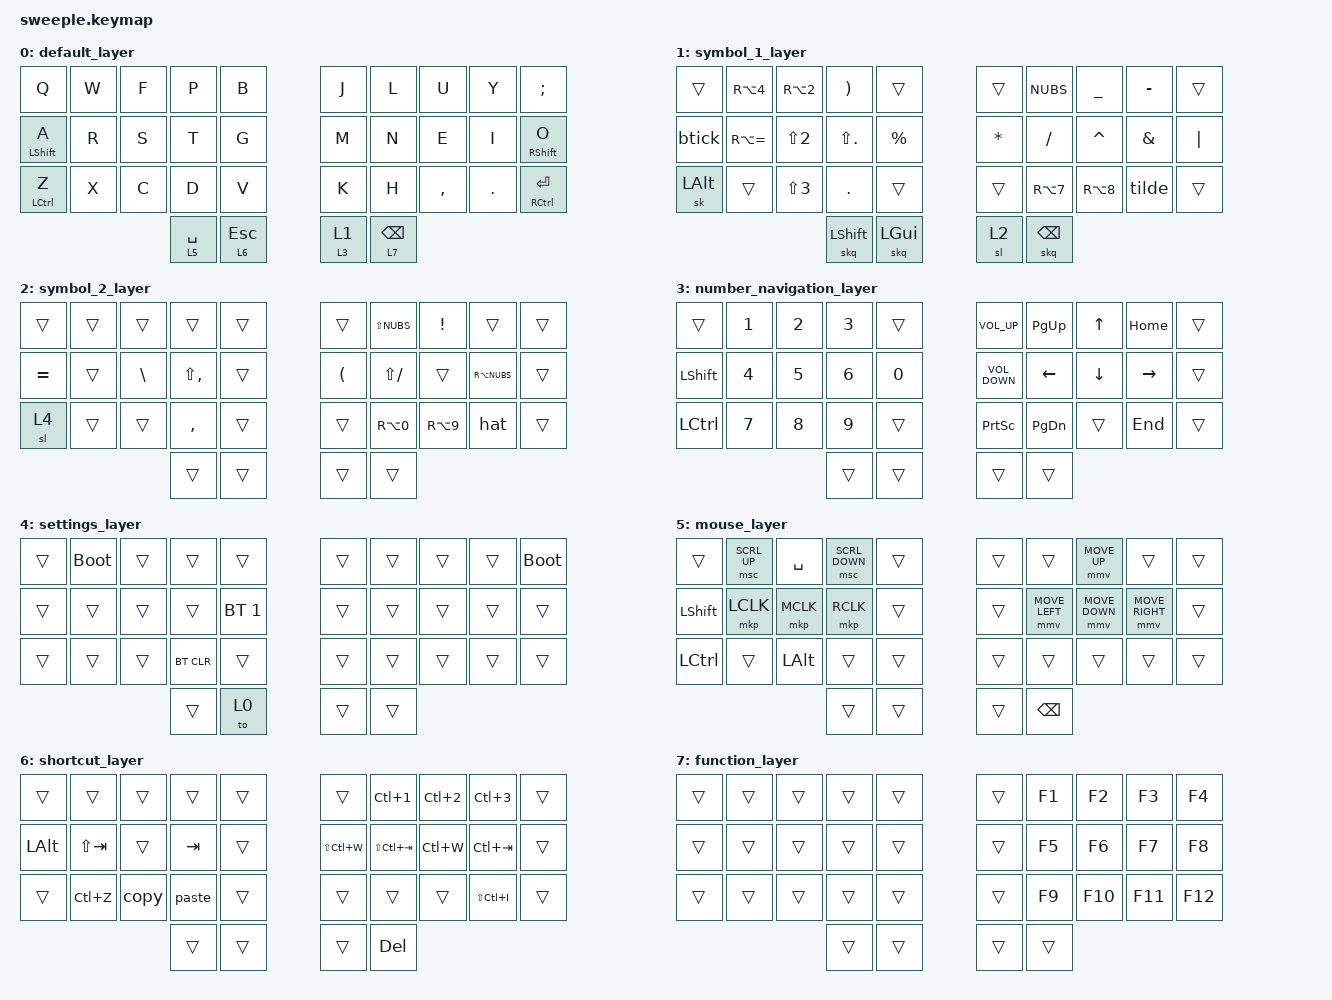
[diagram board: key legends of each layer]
#include <behaviors/mouse_keys.dtsi>
#include <behaviors.dtsi>
#include <dt-bindings/zmk/bt.h>
#include <dt-bindings/zmk/keys.h>
#include <dt-bindings/zmk/mouse.h>

&mt { tapping-term-ms = <400>; };

/ {
    input_configs {
        compatible = "zmk,input-configs";

        mmv {
            device = <&mmv>;
            scale-multiplier = <10>;
        };
    };

    behaviors {
        htl: hold_tap_leader {
            label = "leader_hold_tap";
            compatible = "zmk,behavior-hold-tap";
            #binding-cells = <2>;
            flavor = "tap-preferred";
            tapping-term-ms = <200>;
            bindings = <&mo>, <&sl>;
        };

        skq: sticky_key_quick_release {
            compatible = "zmk,behavior-sticky-key";
            label = "STICKY_KEY_QUICK_RELEASE";
            #binding-cells = <1>;
            bindings = <&kp>;
            release-after-ms = <1000>;
            quick-release;
            ignore-modifiers;
        };

        EAE_behavior: EAE_behavior {
            compatible = "zmk,behavior-tap-dance";
            label = "EAE_BEHAVIOR";
            #binding-cells = <0>;
            tapping-term-ms = <500>;
            bindings = <&kp E>, <&kp SEMICOLON>;
        };

        OOE_behavior: OOE_behavior {
            compatible = "zmk,behavior-tap-dance";
            label = "OOE_BEHAVIOR";
            #binding-cells = <0>;
            bindings = <&kp O>, <&kp SQT>;

            tapping-term-ms = <500>;
        };

        SAA_behavior: SAA_behavior {
            compatible = "zmk,behavior-tap-dance";
            label = "SAA_BEHAVIOR";
            #binding-cells = <0>;
            bindings = <&kp S>, <&kp LEFT_BRACKET>;
        };
    };

    macros {
        tilde: tilde {
            label = "macro_tilde";
            compatible = "zmk,behavior-macro";
            #binding-cells = <0>;
            bindings = <&kp RA(RBKT) &kp RA(RBKT)>;
        };

        btick: btick {
            label = "macro_btick";
            compatible = "zmk,behavior-macro";
            #binding-cells = <0>;
            bindings = <&kp PLUS &kp PLUS>;
        };

        hat: hat {
            label = "macro_hat";
            compatible = "zmk,behavior-macro";
            #binding-cells = <0>;
            bindings = <&kp RBRC &kp RBRC>;
        };

        copy: copy {
            label = "macro_copy";
            compatible = "zmk,behavior-macro";
            #binding-cells = <0>;
            bindings = <&kp LC(C)>;
        };

        paste: paste {
            label = "macro_paste";
            compatible = "zmk,behavior-macro";
            #binding-cells = <0>;
            bindings = <&kp LC(V)>;
        };
    };

    combos {
        compatible = "zmk,combos";

        combo_aa {
            timeout-ms = <30>;
            key-positions = <17 18>;
            layers = <0>;
            bindings = <&kp LBKT>;
        };

        combo_ae {
            timeout-ms = <30>;
            key-positions = <7 8>;
            layers = <0>;
            bindings = <&kp SEMI>;
        };

        combo_ao {
            timeout-ms = <30>;
            key-positions = <27 28>;
            layers = <0>;
            bindings = <&kp SQT>;
        };

        combo_x {
            timeout-ms = <30>;
            key-positions = <11 12>;
            layers = <0>;
            bindings = <&kp X>;
        };

        combo_q {
            timeout-ms = <30>;
            key-positions = <21 22>;
            layers = <0>;
            bindings = <&kp Q>;
        };

        Bootloader-Left {
            bindings = <&bootloader>;
            key-positions = <0 4>;
        };

        Bootloader-Right {
            bindings = <&bootloader>;
            key-positions = <5 9>;
        };
    };

    keymap {
        compatible = "zmk,keymap";

        default_layer {
            bindings = <
&kp Q             &kp W  &kp F  &kp P        &kp B        &kp J     &kp L            &kp U      &kp Y       &kp SEMICOLON
&mt LEFT_SHIFT A  &kp R  &kp S  &kp T        &kp G        &kp M     &kp N            &kp E      &kp I       &mt RIGHT_SHIFT O
&mt LCTRL Z       &kp X  &kp C  &kp D        &kp V        &kp K     &kp H            &kp COMMA  &kp PERIOD  &mt RCTRL ENTER
                                &lt 5 SPACE  &lt 6 ESC    &htl 3 1  &lt 7 BACKSPACE
            >;
        };

        symbol_1_layer {
            bindings = <
&trans    &kp RA(N4)     &kp RA(N2)  &kp RPAR     &trans       &trans     &kp NUBS        &kp UNDER   &kp MINUS  &trans
&btick    &kp RA(EQUAL)  &kp LS(N2)  &kp LS(DOT)  &kp PRCNT    &kp ASTRK  &kp FSLH        &kp CARET   &kp AMPS   &kp PIPE
&sk LALT  &trans         &kp LS(N3)  &kp DOT      &trans       &trans     &kp RA(N7)      &kp RA(N8)  &tilde     &trans
                                     &skq LSHIFT  &skq LGUI    &sl 2      &skq BACKSPACE
            >;
        };

        symbol_2_layer {
            bindings = <
&trans     &trans  &trans    &trans         &trans    &trans    &kp LS(NUBS)  &kp EXCL    &trans        &trans
&kp EQUAL  &trans  &kp BSLH  &kp LS(COMMA)  &trans    &kp LPAR  &kp LS(FSLH)  &trans      &kp RA(NUBS)  &trans
&sl 4      &trans  &trans    &kp COMMA      &trans    &trans    &kp RA(N0)    &kp RA(N9)  &hat          &trans
                             &trans         &trans    &trans    &trans
            >;
        };

        number_navigation_layer {
            bindings = <
&trans          &kp N1  &kp N2  &kp N3  &trans    &kp C_VOLUME_UP    &kp PAGE_UP     &kp UP_ARROW    &kp HOME         &trans
&kp LEFT_SHIFT  &kp N4  &kp N5  &kp N6  &kp N0    &kp C_VOLUME_DOWN  &kp LEFT_ARROW  &kp DOWN_ARROW  &kp RIGHT_ARROW  &trans
&kp LCTRL       &kp N7  &kp N8  &kp N9  &trans    &kp PRINTSCREEN    &kp PAGE_DOWN   &trans          &kp END          &trans
                                &trans  &trans    &trans             &trans
            >;
        };

        settings_layer {
            bindings = <
&trans  &bootloader  &trans  &trans      &trans          &trans  &trans  &trans  &trans  &bootloader
&trans  &trans       &trans  &trans      &bt BT_SEL 1    &trans  &trans  &trans  &trans  &trans
&trans  &trans       &trans  &bt BT_CLR  &trans          &trans  &trans  &trans  &trans  &trans
                             &trans      &to 0           &trans  &trans
            >;
        };

        mouse_layer {
            bindings = <
&trans      &msc SCRL_UP  &kp SPACE  &msc SCRL_DOWN  &trans    &trans  &trans          &mmv MOVE_UP    &trans           &trans
&kp LSHIFT  &mkp LCLK     &mkp MCLK  &mkp RCLK       &trans    &trans  &mmv MOVE_LEFT  &mmv MOVE_DOWN  &mmv MOVE_RIGHT  &trans
&kp LCTRL   &trans        &kp LALT   &trans          &trans    &trans  &trans          &trans          &trans           &trans
                                     &trans          &trans    &trans  &kp BACKSPACE
            >;
        };

        shortcut_layer {
            bindings = <
&trans        &trans       &trans  &trans   &trans    &trans         &kp LC(N1)       &kp LC(N2)  &kp LC(N3)     &trans
&kp LEFT_ALT  &kp LS(TAB)  &trans  &kp TAB  &trans    &kp LS(LC(W))  &kp LS(LC(TAB))  &kp LC(W)   &kp LC(TAB)    &trans
&trans        &kp LC(Z)    &copy   &paste   &trans    &trans         &trans           &trans      &kp LS(LC(I))  &trans
                                   &trans   &trans    &trans         &kp DEL
            >;
        };

        function_layer {
            bindings = <
&trans  &trans  &trans  &trans  &trans    &trans  &kp F1  &kp F2   &kp F3   &kp F4
&trans  &trans  &trans  &trans  &trans    &trans  &kp F5  &kp F6   &kp F7   &kp F8
&trans  &trans  &trans  &trans  &trans    &trans  &kp F9  &kp F10  &kp F11  &kp F12
                        &trans  &trans    &trans  &trans
            >;
        };
    };
};
